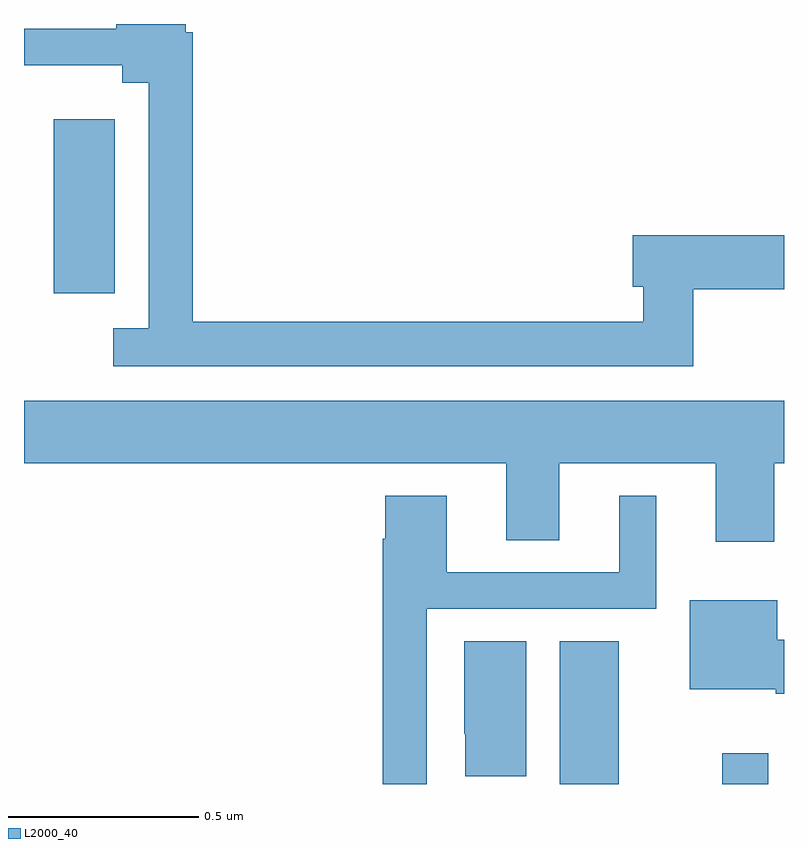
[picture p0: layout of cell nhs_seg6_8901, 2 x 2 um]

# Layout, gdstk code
import gdstk
lib = gdstk.Library(unit=1e-6, precision=1e-09)
def R(c, l, rs):  # rectangles x0, y0, x1, y1
    for r in rs: c.add(gdstk.rectangle(r[:2], r[2:], *l))
def P(c, l, *ps):  # polygons
    for p in ps: c.add(gdstk.Polygon(p, *l))
L2000_40 = (2000, 40)

nhs_seg6_8901 = lib.new_cell('nhs_seg6_8901')
R(nhs_seg6_8901, L2000_40, [(228.41,938.5,228.565,938.876), (228.838,938.5,228.959,938.581), (227.078,939.791,227.239,940.249)])
P(nhs_seg6_8901, L2000_40, [(228.761,939.802),(229,939.802),(229,939.944),(228.602,939.944),(228.602,939.809),(228.629,939.809),(228.629,939.716),(227.444,939.716),(227.444,940.478),(227.425,940.478),(227.425,940.5),(227.243,940.5),(227.243,940.488),(227,940.488),(227,940.392),(227.258,940.392),(227.258,940.346),(227.328,940.346),(227.328,939.7),(227.235,939.7),(227.235,939.6),(228.761,939.6)],
  [(228.974,939.344),(229,939.344),(229,939.508),(227,939.508),(227,939.344),(228.269,939.344),(228.269,939.142),(228.409,939.142),(228.409,939.344),(228.821,939.344),(228.821,939.138),(228.974,939.138)],
  [(228.06,938.961),(228.664,938.961),(228.664,939.259),(228.566,939.259),(228.566,939.057),(228.112,939.057),(228.112,939.259),(227.951,939.259),(227.951,939.146),(227.944,939.146),(227.944,938.5),(228.06,938.5)],
  [(229,938.88),(228.982,938.88),(228.982,938.983),(228.752,938.983),(228.752,938.75),(228.978,938.75),(228.978,938.738),(229,938.738)],
  [(228.322,938.876),(228.158,938.876),(228.158,938.632),(228.161,938.632),(228.161,938.52),(228.322,938.52)])

lib.write_gds('nhs_seg6_8901.gds')
